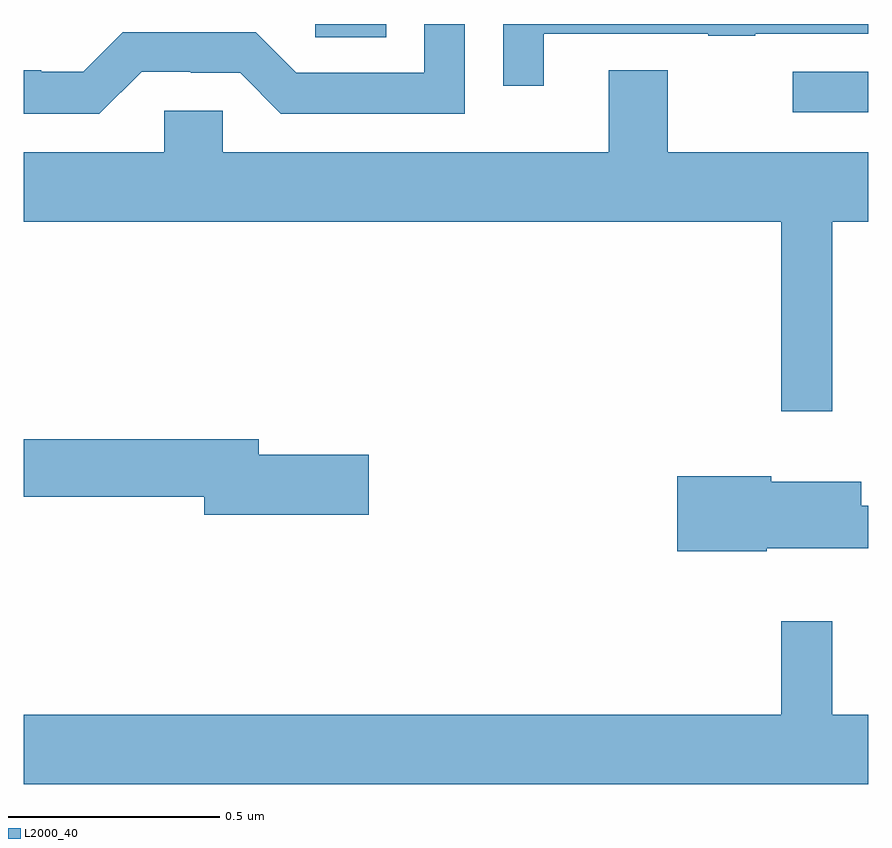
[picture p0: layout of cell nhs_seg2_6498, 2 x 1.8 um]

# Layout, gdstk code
import gdstk
lib = gdstk.Library(unit=1e-6, precision=1e-09)
def R(c, l, rs):  # rectangles x0, y0, x1, y1
    for r in rs: c.add(gdstk.rectangle(r[:2], r[2:], *l))
def P(c, l, *ps):  # polygons
    for p in ps: c.add(gdstk.Polygon(p, *l))
L2000_40 = (2000, 40)

nhs_seg2_6498 = lib.new_cell('nhs_seg2_6498')
R(nhs_seg2_6498, L2000_40, [(193.821,618.591,194,618.687), (192.69,618.769,192.858,618.8)])
P(nhs_seg2_6498, L2000_40, [(192.279,618.687),(192.395,618.687),(192.395,618.684),(192.513,618.684),(192.609,618.588),(193.044,618.588),(193.044,618.8),(192.948,618.8),(192.948,618.684),(192.645,618.684),(192.549,618.78),(192.234,618.78),(192.141,618.687),(192.041,618.687),(192.041,618.691),(192,618.691),(192,618.587),(192.179,618.587)],
  [(193.231,618.777),(193.621,618.777),(193.621,618.772),(193.733,618.772),(193.733,618.777),(194,618.777),(194,618.8),(193.135,618.8),(193.135,618.654),(193.231,618.654)],
  [(193.915,618.332),(194,618.332),(194,618.496),(193.525,618.496),(193.525,618.691),(193.385,618.691),(193.385,618.496),(192.471,618.496),(192.471,618.594),(192.333,618.594),(192.333,618.496),(192,618.496),(192,618.332),(193.794,618.332),(193.794,617.883),(193.915,617.883)],
  [(192.817,617.78),(192.556,617.78),(192.556,617.816),(192,617.816),(192,617.68),(192.428,617.68),(192.428,617.638),(192.817,617.638)],
  [(193.76,617.558),(194,617.558),(194,617.659),(193.984,617.659),(193.984,617.716),(193.77,617.716),(193.77,617.729),(193.548,617.729),(193.548,617.551),(193.76,617.551)],
  [(194,617.164),(193.915,617.164),(193.915,617.386),(193.794,617.386),(193.794,617.164),(192,617.164),(192,617),(194,617)])

lib.write_gds('nhs_seg2_6498.gds')
